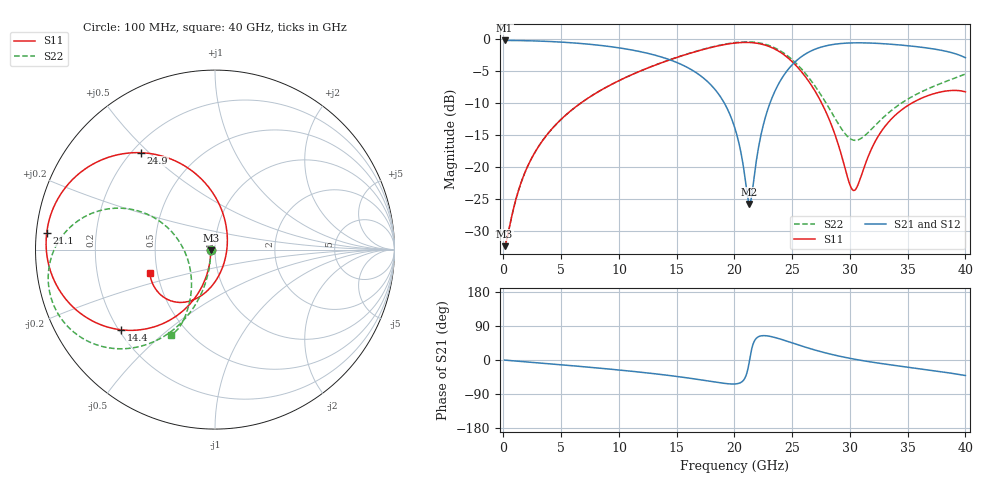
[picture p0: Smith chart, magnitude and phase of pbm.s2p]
! B_s8_L1L3_stub_d300: physics-based via model (prototype), ports at the via
# Hz S RI R 50
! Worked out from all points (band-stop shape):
!   400 points, 100 MHz to 40 GHz, reference 50 ohm
!   highest |S21| = -0.21 dB at 100 MHz (marker M1); lowest = -25.8 dB at 21.3 GHz (marker M2)
!   |S21| within 3 dB of the highest: start of sweep to 14.37 GHz; 25.47 GHz to end of sweep
!   lowest |S11| = -32.4 dB at 100 MHz (marker M3), VSWR 1.05, Z = 47.7 - j0.437 ohm
!   |S11| at or under -10 dB: start of sweep to 6.701 GHz; 27.55 GHz to 35.37 GHz (7.816 GHz wide, 24.8 % of centre)
!   |S22| runs from -32.4 to -0.4 dB; largest |S21 - S12| = 0
!   S11 on the Smith chart (normalised r, x): 100 MHz: 0.95, -0.01; 14.4 GHz: 0.21, -0.35; 21.1 GHz: 0.03, +0.05; 24.9 GHz: 0.24, +0.47; 40 GHz: 0.45, -0.14
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1e8  -0.0236 -0.00458  0.9764 -0.00426  0.9764 -0.00426  -0.0236 -0.0046
1.3e9  -0.0274 -0.0594  0.973 -0.0553  0.973 -0.0553  -0.0265 -0.0598
2.5e9  -0.0379 -0.1136  0.9636 -0.1058  0.9636 -0.1058  -0.0346 -0.1146
4.3e9  -0.0662 -0.1924  0.9385 -0.1797  0.9385 -0.1797  -0.0565 -0.1954
6.8e9  -0.1308 -0.2931  0.8807 -0.2757  0.8807 -0.2757  -0.1067 -0.3026
1.34e10  -0.4539 -0.4497  0.5861 -0.4472  0.5861 -0.4472  -0.3675 -0.5238
1.44e10  -0.5239 -0.4469  0.5203 -0.4527  0.5203 -0.4527  -0.4272 -0.5417
1.8e10  -0.8062 -0.3046  0.2392 -0.3634  0.2392 -0.3634  -0.6947 -0.5168
2.01e10  -0.9307 -0.0669  0.0872 -0.1724  0.0872 -0.1724  -0.8607 -0.3791
2.06e10  -0.9405 0.0101  0.065 -0.1063  0.065 -0.1063  -0.8913 -0.3262
2.11e10  -0.9377 0.0931  0.0528 -0.033  0.0528 -0.033  -0.9144 -0.2654
2.13e10  -0.9325 0.1274  0.0513 -0.00205  0.0513 -0.00205  -0.921 -0.239
2.22e10  -0.8753 0.2833  0.0734 0.1436  0.0734 0.1436  -0.9265 -0.1103
2.28e10  -0.8047 0.3791  0.1175 0.2388  0.1175 0.2388  -0.9044 -0.0212
2.49e10  -0.413 0.5398  0.4263 0.4443  0.4263 0.4443  -0.6724 0.2074
2.67e10  -0.1026 0.4181  0.7135 0.3909  0.7135 0.3909  -0.4148 0.2114
2.83e10  0.0368 0.2216  0.8676 0.2422  0.8676 0.2422  -0.2543 0.1129
3.03e10  0.0653 -0.00492  0.9341 0.0436  0.9341 0.0436  -0.1572 -0.0395
3.21e10  0.0174 -0.1518  0.9233 -0.106  0.9233 -0.106  -0.1317 -0.1603
3.34e10  -0.0374 -0.2243  0.8933 -0.195  0.8933 -0.195  -0.1326 -0.2326
3.71e10  -0.2304 -0.2899  0.7478 -0.3871  0.7478 -0.3871  -0.172 -0.3849
4e10  -0.3638 -0.1312  0.5404 -0.4687  0.5404 -0.4687  -0.2445 -0.4739
